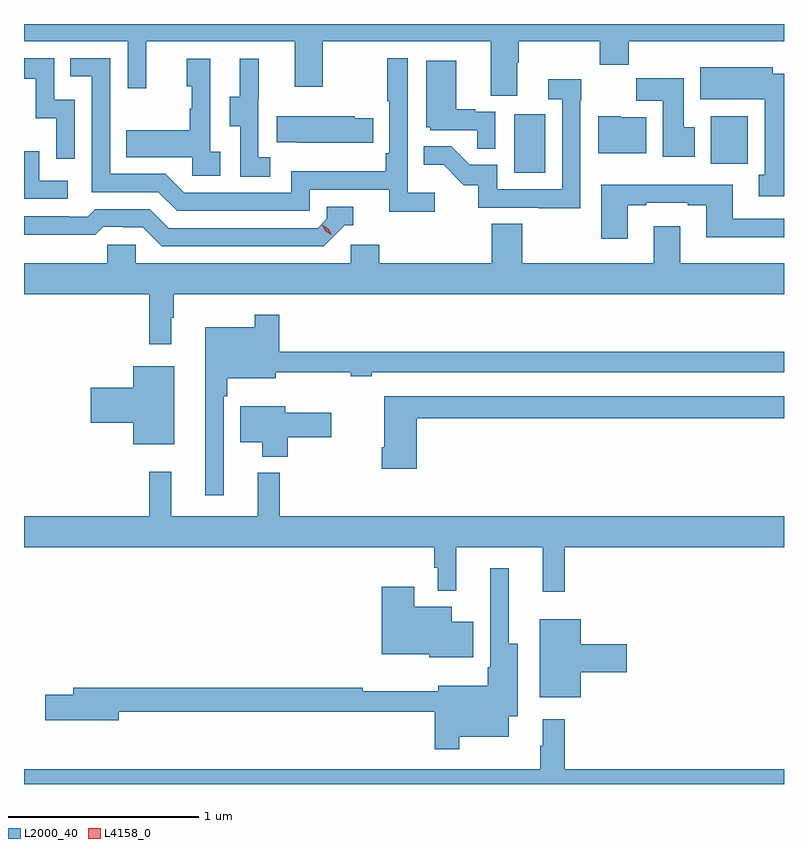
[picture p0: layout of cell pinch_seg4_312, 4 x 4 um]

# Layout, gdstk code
import gdstk
lib = gdstk.Library(unit=1e-6, precision=1e-09)
def R(c, l, rs):  # rectangles x0, y0, x1, y1
    for r in rs: c.add(gdstk.rectangle(r[:2], r[2:], *l))
def P(c, l, *ps):  # polygons
    for p in ps: c.add(gdstk.Polygon(p, *l))
L2000_40 = (2000, 40)
L4158_0 = (4158, 0)

pinch_seg4_312 = lib.new_cell('pinch_seg4_312')
R(pinch_seg4_312, L2000_40, [(914.834,797.46,914.998,797.767), (915.869,797.508,916.065,797.758)])
P(pinch_seg4_312, L2000_40, [(914.851,798.04),(914.859,798.04),(914.859,798.152),(915.286,798.152),(915.286,798.028),(915.437,798.028),(915.437,798.152),(916.255,798.152),(916.255,798.243),(912.255,798.243),(912.255,798.152),(912.801,798.152),(912.801,797.904),(912.899,797.904),(912.899,798.152),(913.679,798.152),(913.679,797.913),(913.827,797.913),(913.827,798.152),(914.711,798.152),(914.711,797.866),(914.851,797.866)],
  [(914.416,797.356),(914.274,797.356),(914.274,798.064),(914.166,798.064),(914.166,797.836),(914.178,797.836),(914.178,797.563),(914.158,797.563),(914.158,797.467),(913.662,797.467),(913.662,797.355),(913.098,797.355),(912.999,797.454),(912.708,797.454),(912.708,798.063),(912.499,798.063),(912.499,797.967),(912.612,797.967),(912.612,797.358),(912.962,797.358),(913.061,797.259),(913.758,797.259),(913.758,797.37),(914.177,797.37),(914.177,797.254),(914.416,797.254)],
  [(912.522,797.844),(912.414,797.844),(912.414,798.063),(912.255,798.063),(912.255,797.955),(912.317,797.955),(912.317,797.747),(912.426,797.747),(912.426,797.535),(912.522,797.535)],
  [(913.288,797.57),(913.236,797.57),(913.236,798.061),(913.112,798.061),(913.112,797.916),(913.138,797.916),(913.138,797.798),(913.128,797.798),(913.128,797.683),(912.793,797.683),(912.793,797.543),(913.14,797.543),(913.14,797.445),(913.288,797.445)],
  [(913.552,797.543),(913.488,797.543),(913.488,797.847),(913.49,797.847),(913.49,798.061),(913.391,798.061),(913.391,797.859),(913.337,797.859),(913.337,797.704),(913.392,797.704),(913.392,797.44),(913.552,797.44)],
  [(914.736,797.781),(914.63,797.781),(914.63,797.794),(914.53,797.794),(914.53,798.049),(914.372,798.049),(914.372,797.7),(914.394,797.7),(914.394,797.685),(914.641,797.685),(914.641,797.587),(914.736,797.587)],
  [(916.255,797.98),(916.195,797.98),(916.195,798.016),(915.815,798.016),(915.815,797.846),(916.154,797.846),(916.154,797.449),(916.121,797.449),(916.121,797.337),(916.255,797.337)],
  [(915.784,797.7),(915.727,797.7),(915.727,797.958),(915.478,797.958),(915.478,797.84),(915.617,797.84),(915.617,797.544),(915.784,797.544)],
  [(915.183,797.84),(915.188,797.84),(915.188,797.953),(915.015,797.953),(915.015,797.847),(915.087,797.847),(915.087,797.373),(914.745,797.373),(914.745,797.502),(914.601,797.502),(914.503,797.6),(914.359,797.6),(914.359,797.501),(914.463,797.501),(914.57,797.394),(914.647,797.394),(914.647,797.277),(914.965,797.277),(914.965,797.272),(915.183,797.272)],
  [(915.529,797.752),(915.396,797.752),(915.396,797.758),(915.278,797.758),(915.278,797.564),(915.529,797.564)],
  [(914.093,797.748),(913.995,797.748),(913.995,797.758),(913.585,797.758),(913.585,797.621),(913.693,797.621),(913.693,797.618),(914.093,797.618)],
  [(912.484,797.418),(912.336,797.418),(912.336,797.572),(912.255,797.572),(912.255,797.322),(912.484,797.322)],
  [(915.433,797.289),(915.529,797.289),(915.529,797.301),(915.749,797.301),(915.749,797.289),(915.845,797.289),(915.845,797.12),(916.255,797.12),(916.255,797.217),(915.985,797.217),(915.985,797.398),(915.293,797.398),(915.293,797.112),(915.433,797.112)],
  [(913.944,797.184),(913.987,797.184),(913.987,797.28),(913.848,797.28),(913.848,797.217),(913.8,797.169),(913.017,797.169),(912.918,797.268),(912.629,797.268),(912.59,797.229),(912.491,797.229),(912.491,797.232),(912.255,797.232),(912.255,797.135),(912.396,797.135),(912.396,797.133),(912.629,797.133),(912.671,797.175),(912.774,797.175),(912.774,797.172),(912.881,797.172),(912.98,797.073),(913.833,797.073)],
  [(916.255,796.984),(915.709,796.984),(915.709,797.179),(915.569,797.179),(915.569,796.984),(914.877,796.984),(914.877,797.192),(914.717,797.192),(914.717,796.984),(914.126,796.984),(914.126,797.082),(913.974,797.082),(913.974,796.984),(912.843,796.984),(912.843,797.082),(912.693,797.082),(912.693,796.984),(912.255,796.984),(912.255,796.82),(912.913,796.82),(912.913,796.557),(913.03,796.557),(913.03,796.697),(913.042,796.697),(913.042,796.82),(916.255,796.82)],
  [(913.305,796.283),(913.325,796.283),(913.325,796.379),(913.579,796.379),(913.579,796.409),(913.975,796.409),(913.975,796.39),(914.084,796.39),(914.084,796.41),(916.255,796.41),(916.255,796.519),(913.598,796.519),(913.598,796.714),(913.47,796.714),(913.47,796.648),(913.208,796.648),(913.208,795.762),(913.305,795.762)],
  [(913.045,796.441),(912.83,796.441),(912.83,796.328),(912.606,796.328),(912.606,796.145),(912.83,796.145),(912.83,796.031),(913.045,796.031)],
  [(914.321,796.168),(916.255,796.168),(916.255,796.284),(914.15,796.284),(914.15,796.015),(914.138,796.015),(914.138,795.903),(914.321,795.903)],
  [(913.643,796.069),(913.873,796.069),(913.873,796.198),(913.63,796.198),(913.63,796.231),(913.394,796.231),(913.394,796.043),(913.508,796.043),(913.508,795.965),(913.643,795.965)],
  [(915.101,795.488),(916.255,795.488),(916.255,795.652),(913.601,795.652),(913.601,795.88),(913.484,795.88),(913.484,795.652),(913.031,795.652),(913.031,795.886),(912.913,795.886),(912.913,795.652),(912.255,795.652),(912.255,795.488),(914.413,795.488),(914.413,795.381),(914.433,795.381),(914.433,795.26),(914.531,795.26),(914.531,795.488),(914.984,795.488),(914.984,795.255),(915.101,795.255)],
  [(914.545,794.492),(914.806,794.492),(914.806,794.6),(914.854,794.6),(914.854,794.98),(914.806,794.98),(914.806,795.379),(914.709,795.379),(914.709,794.857),(914.696,794.857),(914.696,794.761),(914.435,794.761),(914.435,794.732),(914.039,794.732),(914.039,794.75),(912.515,794.75),(912.515,794.714),(912.366,794.714),(912.366,794.579),(912.754,794.579),(912.754,794.622),(914.416,794.622),(914.416,794.427),(914.545,794.427)],
  [(914.62,795.097),(914.506,795.097),(914.506,795.175),(914.308,795.175),(914.308,795.28),(914.138,795.28),(914.138,794.927),(914.388,794.927),(914.388,794.909),(914.62,794.909)],
  [(915.184,794.831),(915.427,794.831),(915.427,794.978),(915.184,794.978),(915.184,795.109),(914.969,795.109),(914.969,794.699),(915.184,794.699)],
  [(916.255,794.32),(915.101,794.32),(915.101,794.584),(914.984,794.584),(914.984,794.444),(914.973,794.444),(914.973,794.32),(912.255,794.32),(912.255,794.243),(916.255,794.243)])
P(pinch_seg4_312, L4158_0, [(913.873,797.133),(913.842,797.152),(913.826,797.185),(913.826,797.186),(913.826,797.186),(913.857,797.166),(913.874,797.133),(913.874,797.133)])

lib.write_gds('pinch_seg4_312.gds')
